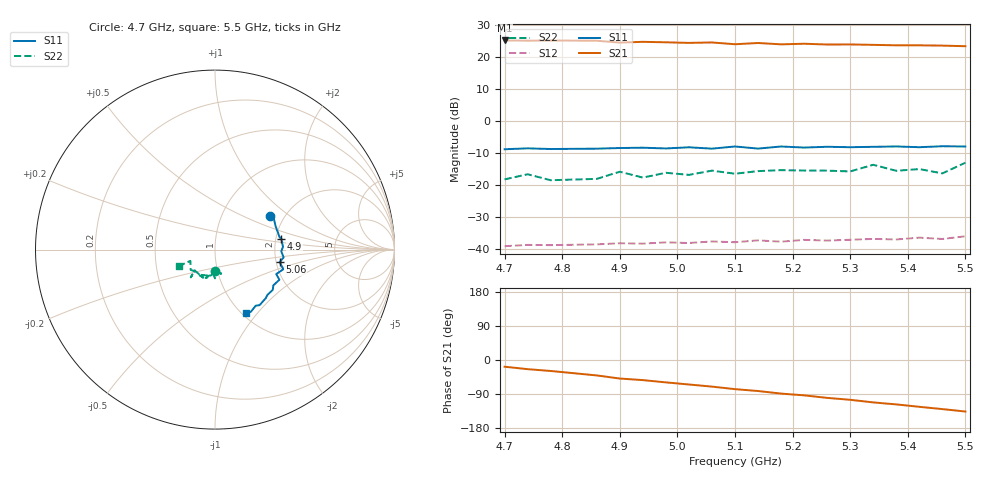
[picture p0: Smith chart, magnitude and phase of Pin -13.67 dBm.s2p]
! RsaToolbox (C) 2015 Rohde & Schwarz America
! Number of points: 20
! Number of ports: 2
! Balanced ports?: No
# Hz S RI R 50
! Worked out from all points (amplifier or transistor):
!   20 points, 4.7 GHz to 5.5 GHz, reference 50 ohm
!   highest |S21| = 25.0 dB at 4.7 GHz (marker M1)
!   |S21| within 3 dB of that: start of sweep to end of sweep
!   unconditionally stable (mu >= 1): start of sweep to end of sweep
!   at 4.86 GHz: K = 2.11, MAG = 25.8 dB, |S12| = -38.6 dB
!   at 5.14 GHz: K = 1.96, MAG = 25.2 dB, |S12| = -37.3 dB
!   at 5.5 GHz: K = 1.80, MAG = 24.5 dB, |S12| = -36.1 dB
!   S11 on the Smith chart (normalised r, x): 4.7 GHz: 1.69, +0.72; 4.9 GHz: 2.14, +0.31; 5.06 GHz: 2.09, -0.34; 5.5 GHz: 1.04, -0.88
4.7e9  0.307 0.1858  16.99 -5.435  0.00898 -0.00645  0.00085 -0.1216
4.74e9  0.3278 0.1728  16.14 -7.241  0.00953 -0.00655  0.0447 -0.1391
4.78e9  0.3378 0.1298  15.57 -8.616  0.00822 -0.008  0.00963 -0.1176
4.86e9  0.3599 0.0687  13.38 -11.51  0.0071 -0.00942  -0.0154 -0.1229
4.9e9  0.37 0.0612  10.85 -12.45  0.0071 -0.01  0.000202 -0.1601
4.94e9  0.3789 0.0149  10.2 -13.57  0.00588 -0.0106  -0.00884 -0.1294
4.98e9  0.3692 -0.00952  8.58 -14.32  0.00534 -0.0115  -0.0302 -0.1512
5.02e9  0.3824 -0.0436  6.998 -14.77  0.00441 -0.0116  -0.0268 -0.1405
5.06e9  0.3598 -0.0704  5.618 -15.62  0.00332 -0.0127  -0.0503 -0.1587
5.1e9  0.381 -0.109  3.524 -15.17  0.00277 -0.0124  -0.0317 -0.1456
5.14e9  0.3412 -0.1366  2.299 -16.12  0.000984 -0.0136  -0.0845 -0.1401
5.18e9  0.3588 -0.1679  0.3696 -15.5  0.000532 -0.013  -0.0647 -0.1566
5.22e9  0.325 -0.1995  -0.9103 -15.83  -0.00111 -0.0138  -0.085 -0.1439
5.26e9  0.3217 -0.2242  -2.672 -15.18  -0.00159 -0.0134  -0.0787 -0.1467
5.3e9  0.2912 -0.2535  -4.004 -14.93  -0.00316 -0.0136  -0.114 -0.1148
5.34e9  0.2829 -0.2706  -5.68 -14.13  -0.00398 -0.0138  -0.1348 -0.1547
5.38e9  0.2485 -0.3095  -6.848 -13.33  -0.00553 -0.0129  -0.113 -0.1211
5.42e9  0.2266 -0.3126  -8.269 -12.48  -0.00653 -0.0135  -0.1355 -0.1125
5.46e9  0.2005 -0.3458  -9.44 -11.43  -0.00775 -0.0121  -0.1371 -0.0628
5.5e9  0.1732 -0.3559  -10.43 -10.08  -0.00897 -0.0129  -0.2014 -0.0917
